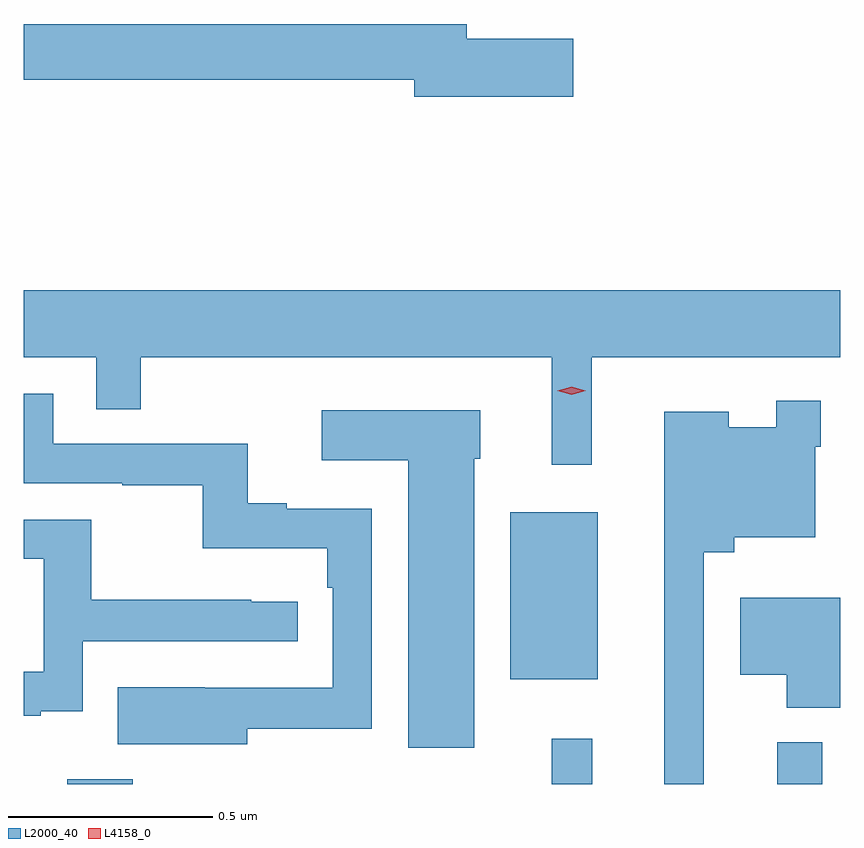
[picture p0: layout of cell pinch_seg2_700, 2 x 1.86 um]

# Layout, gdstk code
import gdstk
lib = gdstk.Library(unit=1e-6, precision=1e-09)
def R(c, l, rs):  # rectangles x0, y0, x1, y1
    for r in rs: c.add(gdstk.rectangle(r[:2], r[2:], *l))
def P(c, l, *ps):  # polygons
    for p in ps: c.add(gdstk.Polygon(p, *l))
L2000_40 = (2000, 40)
L4158_0 = (4158, 0)

pinch_seg2_700 = lib.new_cell('pinch_seg2_700')
R(pinch_seg2_700, L2000_40, [(1082.464,593.311,1082.624,593.323), (1083.65,593.311,1083.749,593.422), (1084.202,593.311,1084.312,593.413), (1083.548,593.567,1083.763,593.977)])
P(pinch_seg2_700, L2000_40, [(1083.703,595.136),(1083.442,595.136),(1083.442,595.172),(1082.357,595.172),(1082.357,595.036),(1083.314,595.036),(1083.314,594.994),(1083.703,594.994)],
  [(1083.748,594.356),(1084.357,594.356),(1084.357,594.52),(1082.357,594.52),(1082.357,594.356),(1082.535,594.356),(1082.535,594.229),(1082.644,594.229),(1082.644,594.356),(1083.65,594.356),(1083.65,594.093),(1083.748,594.093)],
  [(1082.905,593.446),(1083.21,593.446),(1083.21,593.985),(1083.001,593.985),(1083.001,593.998),(1082.906,593.998),(1082.906,594.144),(1082.43,594.144),(1082.43,594.267),(1082.357,594.267),(1082.357,594.048),(1082.599,594.048),(1082.599,594.043),(1082.796,594.043),(1082.796,593.888),(1083.101,593.888),(1083.101,593.792),(1083.114,593.792),(1083.114,593.547),(1082.801,593.547),(1082.801,593.548),(1082.587,593.548),(1082.587,593.408),(1082.905,593.408)],
  [(1084.023,593.879),(1084.097,593.879),(1084.097,593.915),(1084.296,593.915),(1084.296,594.137),(1084.309,594.137),(1084.309,594.25),(1084.2,594.25),(1084.2,594.184),(1084.084,594.184),(1084.084,594.223),(1083.926,594.223),(1083.926,593.311),(1084.023,593.311)],
  [(1083.46,594.108),(1083.475,594.108),(1083.475,594.226),(1083.087,594.226),(1083.087,594.104),(1083.299,594.104),(1083.299,593.4),(1083.46,593.4)],
  [(1082.399,593.489),(1082.502,593.489),(1082.502,593.661),(1083.028,593.661),(1083.028,593.757),(1082.915,593.757),(1082.915,593.762),(1082.522,593.762),(1082.522,593.958),(1082.357,593.958),(1082.357,593.862),(1082.406,593.862),(1082.406,593.586),(1082.357,593.586),(1082.357,593.478),(1082.399,593.478)],
  [(1084.357,593.767),(1084.112,593.767),(1084.112,593.579),(1084.226,593.579),(1084.226,593.498),(1084.357,593.498)])
P(pinch_seg2_700, L4158_0, [(1083.699,594.264),(1083.664,594.274),(1083.664,594.274),(1083.664,594.274),(1083.699,594.284),(1083.734,594.274),(1083.734,594.274),(1083.734,594.274)])

lib.write_gds('pinch_seg2_700.gds')
